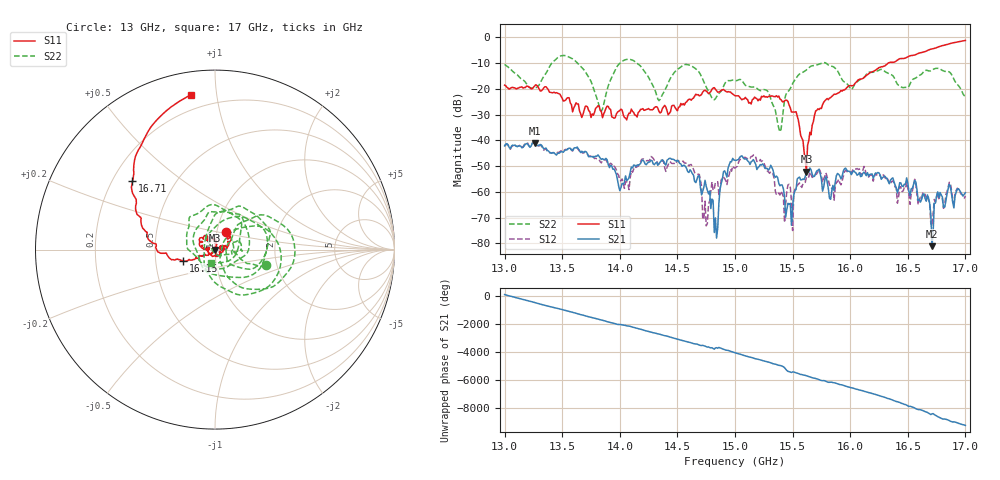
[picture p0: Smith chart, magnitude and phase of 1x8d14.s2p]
!Keysight Technologies,P9374A,MY57211807,A.19.30.04
!Date: Friday, May 08, 2026 15:18:15
!Correction: S11(C  2-Port  )
!S21(C  2-Port  )
!S12(C  2-Port  )
!S22(C  2-Port  )
!S2P File: Measurements: S11, S21, S12, S22:
# Hz S  dB  R 50
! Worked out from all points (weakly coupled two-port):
!   401 points, 13 GHz to 17 GHz, reference 50 ohm
!   highest |S21| = -41.05 dB at 13.26 GHz (marker M1); lowest = -81.1 dB at 16.71 GHz (marker M2)
!   lowest |S11| = -52.2 dB at 15.62 GHz (marker M3), VSWR 1.00, Z = 49.8 - j0.168 ohm
!   |S11| at or under -10 dB: start of sweep to 16.33 GHz
!   |S22| runs from -36.7 to -7.0 dB; largest |S21 - S12| = 0.0016
!   S11 on the Smith chart (normalised r, x): 13 GHz: 1.11, +0.23; 16.15 GHz: 0.69, -0.09; 16.71 GHz: 0.28, +0.33; 17 GHz: 0.12, +0.85
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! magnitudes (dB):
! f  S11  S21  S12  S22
! 13 GHz  -18.5  -42.1  -42.3  -10.5
! 13.26 GHz  -18.9  -41.0  -41.1  -19.6
! 13.48 GHz  -22.0  -44.8  -44.4  -7.3
! 13.67 GHz  -31.1  -44.2  -44.5  -11.7
! 13.84 GHz  -28.9  -47.4  -48.7  -28.6
! 14.06 GHz  -32.0  -55.6  -56.0  -8.5
! 14.34 GHz  -28.7  -49.0  -49.2  -24.6
! 14.62 GHz  -24.4  -52.0  -49.4  -11.0
! 14.74 GHz  -20.5  -55.5  -63.6  -18.3
! 14.84 GHz  -20.6  -77.9  -56.1  -23.1
! 14.89 GHz  -20.4  -55.1  -54.4  -20.0
! 15 GHz  -22.6  -47.7  -50.7  -16.7
! 15.16 GHz  -23.9  -47.4  -45.7  -19.3
! 15.39 GHz  -23.9  -57.6  -61.2  -36.7
! 15.47 GHz  -26.3  -64.8  -57.0  -20.6
! 15.62 GHz  -52.2  -52.1  -54.2  -12.6
! 15.67 GHz  -34.1  -53.1  -54.4  -11.0
! 16.15 GHz  -14.4  -52.5  -53.3  -13.8
! 16.34 GHz  -9.8  -56.8  -57.0  -14.1
! 16.71 GHz  -4.5  -81.1  -73.4  -12.7
! 16.77 GHz  -3.6  -62.3  -63.2  -12.1
! 17 GHz  -1.2  -60.3  -61.5  -22.3
